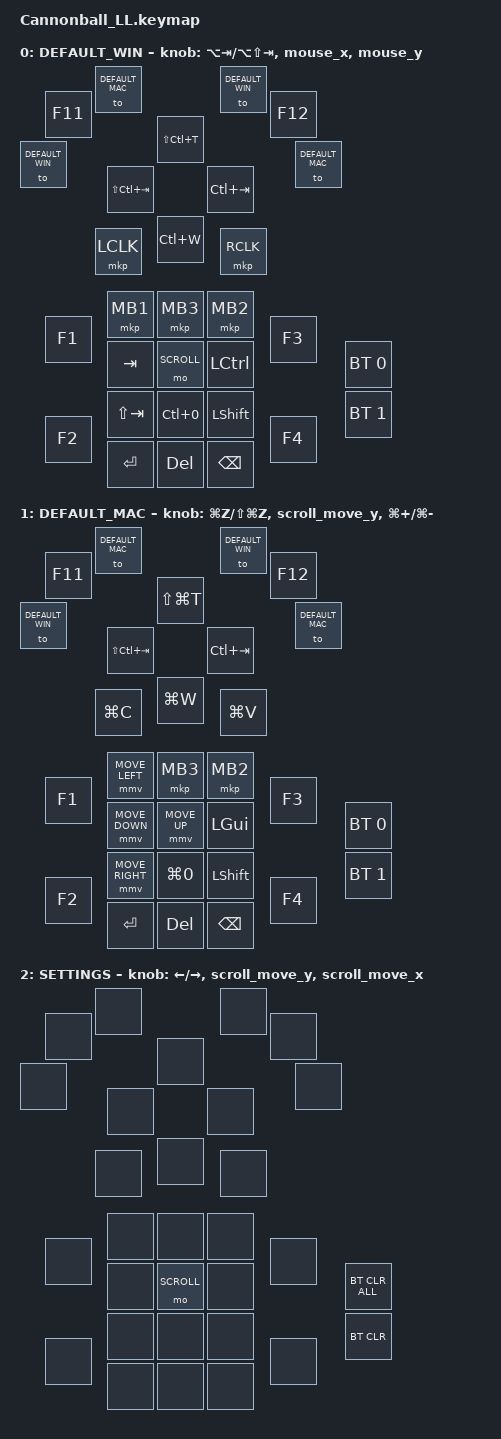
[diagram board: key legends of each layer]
#include <dt-bindings/zmk/input_transform.h>
#include <behaviors.dtsi>
#include <dt-bindings/zmk/bt.h>
#include <dt-bindings/zmk/keys.h>
#include <dt-bindings/zmk/pointing.h>

#define DEFAULT_WIN 0
#define DEFAULT_MAC 1
#define SCROLL 2

/ {
    /* Behaviors */
    // スクロール設定

    msc {
        acceleration-exponent = <0>;      // 0
        time-to-max-speed-ms = <200>;     // 300
        delay-ms = <5>;                   // 10
    };

    behaviors {
        // エンコーダー：キー

        rot_kp: sensor_rotate_kp {
            compatible = "zmk,behavior-sensor-rotate-var";
            #sensor-binding-cells = <2>;
            bindings = <&kp>, <&kp>;
        };

        // エンコーダー：マウススクロール 

        rot_msc: sensor_rotate_msc {
            compatible = "zmk,behavior-sensor-rotate-var";
            #sensor-binding-cells = <2>;
            tap-ms = <20>;
            bindings = <&msc>, <&msc>;
        };

        // エンコーダー：マウススクロール(MOVE_Y)

        scroll_move_y: sensor_rotate_msc_for_move_y {
            compatible = "zmk,behavior-sensor-rotate";
            #sensor-binding-cells = <0>;
            bindings = <&msc MOVE_Y(20)>, <&msc MOVE_Y(-20)>;

            // tap-ms下限メモ Yの値で可変: Y(15) <81>, Y(20) <65>, Y(25) <49>

            tap-ms = <65>;
        };

        // エンコーダー：マウススクロール(MOVE_X)

        scroll_move_x: sensor_rotate_msc_for_move_x {
            compatible = "zmk,behavior-sensor-rotate";
            #sensor-binding-cells = <0>;
            bindings = <&msc MOVE_X(20)>, <&msc MOVE_X(-20)>;

            // tap-ms下限メモ Xの値で可変: X(15) <81>, X(20) <65>, X(25) <49>

            tap-ms = <65>;
        };

        mouse_x: mouse_x {
            compatible = "zmk,behavior-sensor-rotate";
            label = "MOUSE_X";
            #sensor-binding-cells = <0>;
            bindings = <&mmv MOVE_X(100)>, <&mmv MOVE_X(-100)>;

            tap-ms = <100>;
        };

        mouse_y: mouse_y {
            compatible = "zmk,behavior-sensor-rotate";
            label = "MOUSE_Y";
            #sensor-binding-cells = <0>;
            bindings = <&mmv MOVE_Y(100)>, <&mmv MOVE_Y(-100)>;

            tap-ms = <100>;
        };
    };

    /* キーマップ */

    keymap {
        compatible = "zmk,keymap";

        // WINDOWS用

        DEFAULT_WIN {
            bindings = <
&mkp MB2         &kp LCTRL  &kp LSHFT    &kp BSPC         &mkp MB3  &mo SCROLL       &kp LC(N0)       &kp DEL  &mkp MB1         &kp TAB  &kp LS(TAB)  &kp RET  &mkp LCLK  &mkp RCLK     &kp LS(LC(T))
&kp LS(LC(TAB))  &kp LC(W)  &kp LC(TAB)  &to DEFAULT_WIN  &kp F11   &to DEFAULT_MAC  &to DEFAULT_WIN  &kp F12  &to DEFAULT_MAC  &kp F1   &kp F2       &kp F3   &kp F4     &bt BT_SEL 0  &bt BT_SEL 1
            >;

            sensor-bindings =
                <&inc_dec_kp LA(TAB) LA(LS(TAB))>,
                <&mouse_x>,
                <&mouse_y>;
        };

        // MacOS用

        DEFAULT_MAC {
            bindings = <
&mkp MB2         &kp LGUI   &kp LSHFT    &kp BSPC         &mkp MB3  &mmv MOVE_UP     &kp LG(N0)       &kp DEL  &mmv MOVE_LEFT   &mmv MOVE_DOWN  &mmv MOVE_RIGHT  &kp RET  &kp LG(C)  &kp LG(V)     &kp LS(LG(T))
&kp LS(LC(TAB))  &kp LG(W)  &kp LC(TAB)  &to DEFAULT_WIN  &kp F11   &to DEFAULT_MAC  &to DEFAULT_WIN  &kp F12  &to DEFAULT_MAC  &kp F1          &kp F2           &kp F3   &kp F4     &bt BT_SEL 0  &bt BT_SEL 1
            >;

            sensor-bindings =
                <&rot_kp LG(Z) LS(LG(Z))>,
                <&scroll_move_y>,
                <&rot_kp LG(PLUS) LG(MINUS)>;
        };

        // BT設定、スクロールレイヤー

        SETTINGS {
            bindings = <
&none  &none  &none  &none  &none  &mo SCROLL  &none  &none  &none  &none  &none  &none  &none  &none           &none
&none  &none  &none  &none  &none  &none       &none  &none  &none  &none  &none  &none  &none  &bt BT_CLR_ALL  &bt BT_CLR
            >;

            sensor-bindings =
                <&rot_kp LEFT RIGHT>,
                <&scroll_move_y>,
                <&scroll_move_x>;
        };
    };
};
